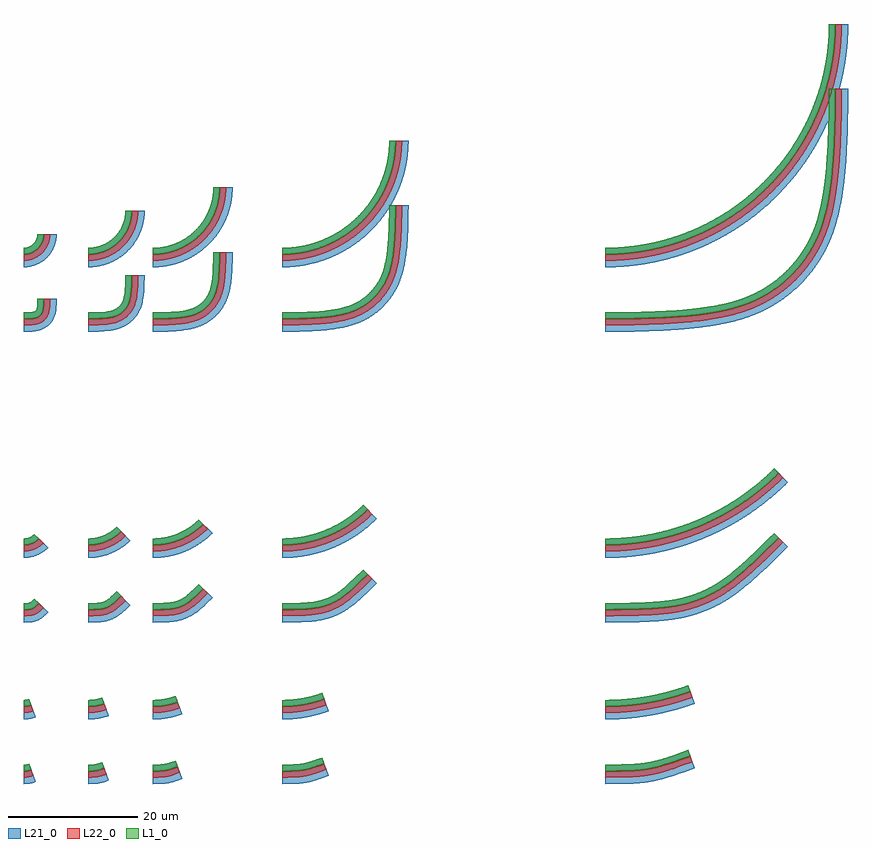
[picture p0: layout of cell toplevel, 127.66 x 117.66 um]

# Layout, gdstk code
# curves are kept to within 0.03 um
import gdstk
lib = gdstk.Library(unit=1e-6, precision=1e-09)
def P(c, l, *ps):  # polygons
    for p in ps: c.add(gdstk.Polygon(p, *l))
L1_0 = (1, 0)
L21_0 = (21, 0)
L22_0 = (22, 0)

unnamed = lib.new_cell('Unnamed')
P(unnamed, L1_0, [(0.561,1.552),(0,1.5),(0,0.5),(0.597,0.528),(1.168,0.706),(0.826,1.646)])
P(unnamed, L21_0, [(0.561,1.552),(0,1.5),(0,-1.5),(0.944,-1.441),(1.852,-1.173),(0.826,1.646)])
P(unnamed, L22_0, [(0.878,0.604),(0.467,0.511),(0,0.5),(0,-0.5),(0.771,-0.457),(1.51,-0.234),(1.168,0.706)])

wg_bend = lib.new_cell('WG bend')
P(wg_bend, L1_0, [(0,1.5),(0.387,1.531),(0.826,1.646),(1.168,0.706),(0.548,0.544),(0,0.5)])
P(wg_bend, L21_0, [(0,1.5),(0.387,1.531),(0.826,1.646),(1.852,-1.173),(1.012,-1.405),(0,-1.5)])
P(wg_bend, L22_0, [(0,0.5),(0.548,0.544),(1.168,0.706),(1.51,-0.234),(0.708,-0.443),(0,-0.5)])

unnamed002 = lib.new_cell('Unnamed002')
P(unnamed002, L1_0, [(1.598,1.682),(0.963,1.528),(0,1.5),(0,0.5),(1.281,0.564),(2.506,0.942),(2.164,1.882)])
P(unnamed002, L21_0, [(1.598,1.682),(0.963,1.528),(0,1.5),(0,-1.5),(0.996,-1.48),(1.628,-1.406),(2.308,-1.241),(3.19,-0.937),(2.164,1.882)])
P(unnamed002, L22_0, [(1.915,0.733),(1.079,0.534),(0,0.5),(0,-0.5),(0.881,-0.485),(1.455,-0.421),(2.015,-0.285),(2.848,0.002),(2.506,0.942)])

wg_bend003 = lib.new_cell('WG bend003')
P(wg_bend003, L1_0, [(0,1.5),(1.139,1.603),(2.164,1.882),(2.506,0.942),(1.226,0.603),(0,0.5)])
P(wg_bend003, L21_0, [(0,1.5),(1.139,1.603),(2.164,1.882),(3.191,-0.937),(2.385,-1.19),(1.56,-1.369),(0.843,-1.462),(0,-1.5)])
P(wg_bend003, L22_0, [(0,0.5),(1.226,0.603),(2.506,0.942),(2.849,0.002),(2.13,-0.223),(1.393,-0.383),(0,-0.5)])

unnamed004 = lib.new_cell('Unnamed004')
P(unnamed004, L1_0, [(2.635,1.811),(2.022,1.631),(1.558,1.55),(0,1.5),(0,0.5),(1.256,0.521),(1.965,0.6),(2.658,0.768),(3.845,1.178),(3.503,2.118)])
P(unnamed004, L21_0, [(2.635,1.811),(2.022,1.631),(1.558,1.55),(0,1.5),(0,-1.5),(1.361,-1.476),(2.312,-1.37),(3.158,-1.17),(4.529,-0.701),(3.503,2.118)])
P(unnamed004, L22_0, [(2.952,0.863),(2.34,0.679),(1.68,0.557),(0,0.5),(0,-0.5),(1.388,-0.473),(2.138,-0.385),(2.95,-0.188),(4.187,0.238),(3.845,1.178)])

wg_bend005 = lib.new_cell('WG bend005')
P(wg_bend005, L1_0, [(0,1.5),(0.893,1.539),(1.691,1.64),(2.565,1.826),(3.503,2.118),(3.845,1.178),(2.91,0.883),(2.049,0.688),(0.98,0.543),(0,0.5)])
P(wg_bend005, L21_0, [(0,1.5),(0.893,1.539),(1.691,1.64),(2.565,1.826),(3.503,2.118),(4.529,-0.701),(3.427,-1.049),(2.3,-1.299),(1.154,-1.45),(0,-1.5)])
P(wg_bend005, L22_0, [(0,0.5),(0.98,0.543),(2.049,0.688),(2.91,0.883),(3.845,1.178),(4.187,0.238),(3.169,-0.083),(2.126,-0.314),(1.173,-0.444),(0,-0.5)])

unnamed006 = lib.new_cell('Unnamed006')
P(unnamed006, L1_0, [(4.709,2.07),(3.703,1.77),(2.7,1.588),(1.56,1.515),(0,1.5),(0,0.5),(1.8,0.522),(2.82,0.595),(3.941,0.799),(5.026,1.122),(6.523,1.65),(6.181,2.59)])
P(unnamed006, L21_0, [(4.709,2.07),(3.703,1.77),(2.7,1.588),(1.56,1.515),(0,1.5),(0,-1.5),(2.216,-1.462),(3.68,-1.298),(5.111,-0.951),(7.207,-0.229),(6.181,2.59)])
P(unnamed006, L22_0, [(5.026,1.122),(3.941,0.799),(2.82,0.595),(1.8,0.522),(0,0.5),(0,-0.5),(1.835,-0.477),(2.94,-0.398),(4.067,-0.199),(5.132,0.104),(6.865,0.71),(6.523,1.65)])

wg_bend007 = lib.new_cell('WG bend007')
P(wg_bend007, L1_0, [(0,1.5),(1.667,1.577),(3.229,1.791),(4.767,2.14),(6.181,2.59),(6.523,1.65),(5.125,1.201),(3.601,0.843),(2.149,0.621),(0.489,0.506),(0,0.5)])
P(wg_bend007, L21_0, [(0,1.5),(1.667,1.577),(3.229,1.791),(4.767,2.14),(6.181,2.59),(7.207,-0.229),(5.454,-0.782),(3.659,-1.18),(1.836,-1.42),(0,-1.5)])
P(wg_bend007, L22_0, [(0,0.5),(1.76,0.581),(3.312,0.79),(5.03,1.175),(6.523,1.65),(6.865,0.71),(5.394,0.238),(3.789,-0.139),(2.262,-0.372),(0.721,-0.487),(0,-0.5)])

unnamed008 = lib.new_cell('Unnamed008')
P(unnamed008, L1_0, [(9.894,2.719),(7.694,2.067),(5.639,1.694),(3.583,1.544),(0,1.5),(0,0.5),(2.609,0.519),(4.707,0.6),(6.258,0.769),(7.537,1.005),(8.577,1.263),(9.801,1.635),(13.216,2.83),(12.874,3.77)])
P(unnamed008, L21_0, [(9.894,2.719),(7.694,2.067),(5.639,1.694),(3.583,1.544),(0,1.5),(0,-1.5),(4.354,-1.425),(5.789,-1.309),(7.208,-1.1),(8.61,-0.797),(9.784,-0.468),(13.901,0.951),(12.874,3.77)])
P(unnamed008, L22_0, [(10.211,1.77),(7.928,1.095),(5.862,0.714),(3.618,0.545),(0,0.5),(0,-0.5),(2.627,-0.481),(4.776,-0.398),(6.198,-0.25),(7.751,0.028),(9.774,0.576),(13.558,1.891),(13.216,2.83)])

wg_bend009 = lib.new_cell('WG bend009')
P(wg_bend009, L1_0, [(0,1.5),(1.738,1.54),(3.281,1.643),(4.722,1.797),(6.441,2.055),(8.053,2.371),(9.556,2.733),(11.227,3.213),(12.874,3.77),(13.217,2.83),(11.146,2.142),(8.654,1.481),(6.319,1.02),(3.862,0.693),(1.785,0.541),(0,0.5)])
P(wg_bend009, L21_0, [(0,1.5),(1.738,1.54),(3.281,1.643),(4.722,1.797),(6.441,2.055),(8.053,2.371),(9.556,2.733),(11.227,3.213),(12.874,3.77),(13.901,0.951),(12.122,0.35),(10.317,-0.169),(8.797,-0.537),(6.955,-0.901),(5.201,-1.166),(3.334,-1.363),(1.669,-1.466),(0,-1.5)])
P(wg_bend009, L22_0, [(0,0.5),(1.785,0.541),(3.368,0.647),(5.24,0.857),(6.808,1.104),(8.364,1.416),(9.906,1.791),(11.62,2.288),(13.217,2.83),(13.559,1.891),(11.142,1.098),(8.779,0.484),(6.382,0.017),(3.962,-0.302),(2.034,-0.448),(0,-0.5)])

unnamed010 = lib.new_cell('Unnamed010')
P(unnamed010, L1_0, [(1.208,1.752),(1.034,1.611),(0.854,1.537),(0,1.5),(0,0.5),(0.847,0.527),(1.331,0.641),(1.71,0.868),(2.371,1.482),(1.664,2.189)])
P(unnamed010, L21_0, [(1.208,1.752),(1.034,1.611),(0.854,1.537),(0,1.5),(0,-1.5),(1.222,-1.442),(2.096,-1.206),(2.88,-0.755),(3.786,0.068),(1.664,2.189)])
P(unnamed010, L22_0, [(1.873,1.005),(1.506,0.728),(1.145,0.578),(0.69,0.515),(0,0.5),(0,-0.5),(0.857,-0.476),(1.404,-0.388),(1.862,-0.215),(2.388,0.13),(3.078,0.775),(2.371,1.482)])

wg_bend011 = lib.new_cell('WG bend011')
P(wg_bend011, L1_0, [(0,1.5),(0.429,1.539),(0.901,1.679),(1.333,1.914),(1.664,2.189),(2.371,1.482),(1.827,1.041),(1.283,0.755),(0.697,0.573),(0,0.5)])
P(wg_bend011, L21_0, [(0,1.5),(0.429,1.539),(0.901,1.679),(1.333,1.914),(1.664,2.189),(3.786,0.068),(2.916,-0.636),(2.049,-1.092),(1.113,-1.383),(0,-1.5)])
P(wg_bend011, L22_0, [(0,0.5),(0.697,0.573),(1.283,0.755),(1.827,1.041),(2.371,1.482),(3.079,0.775),(2.466,0.266),(1.771,-0.124),(1.127,-0.352),(0.342,-0.487),(0,-0.5)])

unnamed012 = lib.new_cell('Unnamed012')
P(unnamed012, L1_0, [(3.413,2.384),(2.783,1.901),(2.138,1.634),(1.351,1.53),(0,1.5),(0,0.5),(1.158,0.519),(2.052,0.596),(2.669,0.751),(3.206,0.991),(3.937,1.514),(5.096,2.611),(4.389,3.318)])
P(unnamed012, L21_0, [(3.413,2.384),(2.783,1.901),(2.138,1.634),(1.351,1.53),(0,1.5),(0,-1.5),(1.237,-1.48),(2.239,-1.398),(3.036,-1.231),(3.618,-1.027),(4.308,-0.683),(4.856,-0.314),(5.622,0.337),(6.511,1.197),(4.389,3.318)])
P(unnamed012, L22_0, [(4.077,1.636),(3.291,1.04),(2.482,0.691),(1.596,0.544),(0,0.5),(0,-0.5),(1.469,-0.467),(2.208,-0.392),(2.88,-0.233),(3.578,0.056),(4.458,0.646),(5.803,1.904),(5.096,2.611)])

wg_bend013 = lib.new_cell('WG bend013')
P(wg_bend013, L1_0, [(0,1.5),(1.211,1.619),(1.841,1.779),(2.45,2.004),(3.449,2.546),(4.389,3.318),(5.096,2.611),(4.312,1.932),(3.439,1.373),(2.495,0.945),(1.499,0.657),(0.753,0.539),(0,0.5)])
P(wg_bend013, L21_0, [(0,1.5),(1.211,1.619),(1.841,1.779),(2.45,2.004),(3.449,2.546),(4.389,3.318),(6.511,1.197),(5.888,0.628),(5.015,-0.015),(4.287,-0.441),(3.524,-0.799),(2.615,-1.121),(1.796,-1.323),(0.962,-1.45),(0,-1.5)])
P(wg_bend013, L22_0, [(0,0.5),(0.753,0.539),(1.499,0.657),(2.137,0.824),(2.845,1.085),(3.439,1.373),(4.004,1.715),(4.536,2.106),(5.096,2.611),(5.804,1.904),(4.911,1.131),(4.01,0.546),(3.041,0.084),(1.916,-0.273),(0.965,-0.443),(0,-0.5)])

unnamed014 = lib.new_cell('Unnamed014')
P(unnamed014, L1_0, [(5.618,3.015),(5.02,2.519),(4.566,2.212),(3.992,1.924),(3.46,1.742),(2.335,1.564),(0,1.5),(0,0.5),(1.747,0.528),(2.824,0.607),(3.63,0.752),(4.465,1.039),(5.16,1.402),(5.749,1.818),(6.566,2.524),(7.821,3.74),(7.114,4.447)])
P(unnamed014, L21_0, [(5.618,3.015),(5.02,2.519),(4.566,2.212),(3.992,1.924),(3.46,1.742),(2.335,1.564),(0,1.5),(0,-1.5),(2.57,-1.427),(3.43,-1.328),(4.254,-1.151),(5.016,-0.897),(5.746,-0.564),(6.436,-0.154),(7.163,0.389),(7.923,1.056),(9.236,2.325),(7.114,4.447)])
P(unnamed014, L22_0, [(6.282,2.267),(5.623,1.722),(5.076,1.352),(4.465,1.039),(3.819,0.804),(3.236,0.667),(2.414,0.567),(0,0.5),(0,-0.5),(1.786,-0.471),(2.941,-0.386),(3.989,-0.187),(4.864,0.122),(5.686,0.552),(6.368,1.033),(7.245,1.79),(8.528,3.033),(7.821,3.74)])

wg_bend015 = lib.new_cell('WG bend015')
P(wg_bend015, L1_0, [(0,1.5),(0.964,1.546),(2.006,1.702),(2.858,1.914),(3.85,2.266),(4.801,2.719),(5.553,3.171),(6.332,3.742),(7.114,4.447),(7.821,3.74),(6.734,2.786),(5.531,1.982),(4.322,1.379),(3.049,0.928),(1.635,0.621),(0.868,0.534),(0,0.5)])
P(wg_bend015, L21_0, [(0,1.5),(0.964,1.546),(2.006,1.702),(2.858,1.914),(3.85,2.266),(4.801,2.719),(5.553,3.171),(6.332,3.742),(7.114,4.447),(9.236,2.326),(8.483,1.629),(7.492,0.862),(6.629,0.307),(5.623,-0.228),(4.574,-0.673),(3.49,-1.025),(2.268,-1.302),(1.252,-1.44),(0,-1.5)])
P(wg_bend015, L22_0, [(0,0.5),(1.06,0.551),(2.111,0.703),(3.142,0.955),(4.144,1.305),(5.193,1.795),(6.105,2.337),(7.036,3.026),(7.821,3.74),(8.528,3.033),(7.426,2.057),(6.212,1.223),(4.809,0.5),(3.426,-0.003),(1.783,-0.368),(0.841,-0.471),(0,-0.5)])

unnamed016 = lib.new_cell('Unnamed016')
P(unnamed016, L1_0, [(10.027,4.277),(8.97,3.401),(8.134,2.834),(7.116,2.317),(6.039,1.941),(5.091,1.737),(3.97,1.609),(1.934,1.519),(0,1.5),(0,0.5),(2.925,0.548),(4.43,0.646),(5.828,0.859),(7.144,1.251),(8.39,1.828),(9.574,2.603),(11.169,3.963),(13.271,5.997),(12.564,6.704)])
P(unnamed016, L21_0, [(10.027,4.277),(8.97,3.401),(8.134,2.834),(7.116,2.317),(6.039,1.941),(5.091,1.737),(3.97,1.609),(1.934,1.519),(0,1.5),(0,-1.5),(3.687,-1.417),(4.981,-1.306),(5.804,-1.185),(6.836,-0.951),(7.741,-0.661),(8.726,-0.247),(9.567,0.197),(10.56,0.845),(11.628,1.693),(13.263,3.188),(14.685,4.583),(12.564,6.704)])
P(unnamed016, L22_0, [(10.691,3.53),(9.574,2.603),(8.561,1.925),(7.509,1.397),(6.305,0.977),(5.247,0.75),(4.049,0.612),(1.954,0.519),(0,0.5),(0,-0.5),(2.964,-0.451),(4.863,-0.313),(6.255,-0.069),(7.498,0.315),(8.875,0.954),(10.177,1.806),(11.848,3.228),(13.978,5.29),(13.271,5.997)])

wg_bend017 = lib.new_cell('WG bend017')
P(wg_bend017, L1_0, [(0,1.5),(1.477,1.561),(2.853,1.73),(4.301,2.028),(5.719,2.445),(7.602,3.208),(9.386,4.181),(11.047,5.352),(12.564,6.704),(13.271,5.997),(12.418,5.195),(11.593,4.508),(9.914,3.332),(9.073,2.838),(7.942,2.263),(7.047,1.873),(5.948,1.467),(4.543,1.058),(3.013,0.743),(1.463,0.557),(0,0.5)])
P(wg_bend017, L21_0, [(0,1.5),(1.845,1.596),(3.58,1.864),(5.279,2.302),(6.842,2.87),(8.427,3.625),(9.929,4.533),(11.335,5.585),(12.564,6.704),(14.686,4.583),(13.578,3.553),(12.399,2.607),(11.154,1.749),(9.85,0.984),(8.395,0.272),(7.092,-0.252),(5.861,-0.656),(4.395,-1.03),(3.228,-1.248),(2.157,-1.388),(0,-1.5)])
P(wg_bend017, L22_0, [(0,0.5),(1.657,0.573),(3.109,0.759),(4.732,1.106),(6.133,1.53),(7.942,2.263),(9.073,2.838),(9.914,3.332),(11.593,4.508),(12.418,5.195),(13.271,5.997),(13.978,5.29),(13.233,4.582),(12.291,3.785),(11.469,3.167),(10.443,2.483),(8.551,1.445),(7.518,0.985),(6.46,0.585),(4.884,0.113),(3.376,-0.21),(1.95,-0.404),(0.308,-0.498),(0,-0.5)])

unnamed018 = lib.new_cell('Unnamed018')
P(unnamed018, L1_0, [(22.471,8.732),(19.948,6.483),(18.044,5.026),(17.056,4.392),(16.08,3.848),(14.902,3.289),(13.864,2.877),(12.623,2.477),(11.448,2.184),(10.264,1.969),(8.812,1.79),(5.186,1.572),(0,1.5),(0,0.5),(5.219,0.572),(8.909,0.795),(10.256,0.957),(11.562,1.186),(12.802,1.488),(14.204,1.937),(15.836,2.613),(17.4,3.434),(18.832,4.356),(20.388,5.549),(23.155,8.002),(26.896,11.641),(26.189,12.348)])
P(unnamed018, L21_0, [(22.471,8.732),(19.753,6.322),(18.723,5.513),(17.688,4.787),(16.654,4.158),(15.496,3.558),(14.473,3.11),(13.247,2.666),(12.174,2.355),(11.056,2.104),(9.784,1.901),(8.561,1.766),(5.186,1.572),(0,1.5),(0,-1.5),(3.956,-1.461),(6.394,-1.383),(8.565,-1.245),(10.371,-1.047),(12.078,-0.749),(13.443,-0.409),(15.088,0.131),(16.488,0.711),(17.843,1.388),(18.965,2.043),(20.112,2.813),(21.48,3.859),(23.044,5.191),(24.522,6.542),(28.31,10.227),(26.189,12.348)])
P(unnamed018, L22_0, [(23.155,8.002),(20.587,5.714),(19.449,4.808),(18.505,4.13),(17.485,3.484),(16.366,2.871),(15.299,2.371),(14.204,1.937),(12.802,1.488),(11.562,1.186),(10.256,0.957),(8.909,0.795),(5.219,0.572),(0,0.5),(0,-0.5),(5.252,-0.427),(7.556,-0.318),(9.228,-0.178),(10.729,0.017),(12.07,0.273),(13.467,0.64),(14.641,1.032),(16.447,1.796),(17.994,2.623),(19.409,3.539),(21.022,4.776),(22.132,5.719),(23.838,7.272),(27.603,10.934),(26.896,11.641)])

wg_bend019 = lib.new_cell('WG bend019')
P(wg_bend019, L1_0, [(0,1.5),(1.637,1.536),(3.367,1.653),(5.089,1.851),(6.705,2.112),(8.215,2.422),(9.896,2.846),(11.372,3.289),(13.009,3.86),(14.97,4.66),(16.711,5.484),(18.324,6.35),(20.053,7.398),(21.645,8.483),(23.253,9.709),(24.864,11.086),(26.189,12.348),(26.896,11.641),(25.462,10.279),(23.958,8.993),(22.39,7.788),(20.678,6.611),(18.904,5.53),(17.163,4.592),(15.375,3.746),(13.453,2.958),(11.113,2.159),(8.726,1.514),(6.399,1.042),(4.048,0.716),(1.978,0.551),(0,0.5)])
P(wg_bend019, L21_0, [(0,1.5),(1.829,1.545),(3.558,1.671),(5.28,1.878),(7.178,2.202),(8.871,2.578),(10.544,3.032),(12.466,3.661),(14.173,4.319),(15.933,5.102),(17.395,5.839),(18.989,6.738),(20.537,7.715),(22.034,8.767),(23.552,9.953),(24.864,11.086),(26.189,12.348),(28.31,10.227),(26.723,8.723),(24.729,7.05),(22.803,5.628),(20.617,4.216),(18.436,2.997),(16.183,1.916),(13.965,1.014),(11.796,0.277),(8.982,-0.48),(6.119,-1.03),(4.468,-1.25),(2.913,-1.394),(0,-1.5)])
P(wg_bend019, L22_0, [(0,0.5),(1.681,0.537),(3.457,0.657),(5.128,0.847),(6.692,1.093),(8.436,1.447),(10.067,1.856),(11.679,2.337),(13.453,2.958),(15.375,3.746),(17.163,4.592),(18.904,5.53),(20.678,6.611),(22.39,7.788),(23.958,8.993),(25.462,10.279),(26.896,11.641),(27.603,10.934),(25.98,9.4),(24.43,8.089),(22.814,6.86),(21.051,5.662),(19.225,4.562),(17.432,3.608),(15.593,2.749),(13.711,1.987),(11.405,1.203),(9.054,0.564),(6.568,0.056),(4.054,-0.289),(2.131,-0.442),(0,-0.5)])

unnamed020 = lib.new_cell('Unnamed020')
P(unnamed020, L1_0, [(2.062,2.354),(1.945,1.867),(1.841,1.736),(1.68,1.639),(1.06,1.534),(0,1.5),(0,0.5),(1.138,0.537),(1.689,0.609),(2.158,0.757),(2.507,0.99),(2.82,1.383),(2.983,1.818),(3.079,2.478),(3.116,3.616),(2.116,3.616)])
P(unnamed020, L21_0, [(2.062,2.354),(1.945,1.867),(1.841,1.736),(1.68,1.639),(1.06,1.534),(0,1.5),(0,-1.5),(1.614,-1.425),(2.265,-1.312),(2.847,-1.125),(3.369,-0.855),(3.84,-0.501),(4.244,-0.074),(4.571,0.415),(4.839,1.035),(5.006,1.749),(5.073,2.321),(5.116,3.616),(2.116,3.616)])
P(unnamed020, L22_0, [(3.055,2.237),(2.96,1.728),(2.82,1.383),(2.568,1.048),(2.233,0.796),(1.887,0.656),(1.379,0.561),(0,0.5),(0,-0.5),(1.216,-0.46),(2.031,-0.339),(2.592,-0.144),(3.173,0.244),(3.624,0.778),(3.922,1.457),(4.076,2.4),(4.116,3.616),(3.116,3.616)])

wg_bend021 = lib.new_cell('WG bend021')
P(wg_bend021, L1_0, [(0,1.5),(0.354,1.53),(0.755,1.639),(1.126,1.824),(1.454,2.078),(1.726,2.392),(1.955,2.806),(2.075,3.203),(2.116,3.616),(3.116,3.616),(3.017,2.838),(2.727,2.109),(2.264,1.475),(1.731,1.025),(1.352,0.809),(0.946,0.647),(0.522,0.544),(0,0.5)])
P(wg_bend021, L21_0, [(0,1.5),(0.354,1.53),(0.755,1.639),(1.126,1.824),(1.454,2.078),(1.726,2.392),(1.955,2.806),(2.075,3.203),(2.116,3.616),(5.116,3.616),(5.066,2.901),(4.916,2.2),(4.67,1.526),(4.254,0.774),(3.815,0.207),(3.301,-0.293),(2.722,-0.716),(1.958,-1.111),(0.998,-1.402),(0,-1.5)])
P(wg_bend021, L22_0, [(0,0.5),(0.522,0.544),(0.946,0.647),(1.43,0.848),(1.874,1.126),(2.436,1.673),(2.807,2.264),(3.038,2.923),(3.116,3.616),(4.116,3.616),(4.013,2.7),(3.885,2.257),(3.657,1.727),(3.145,0.96),(2.475,0.327),(1.889,-0.041),(1.25,-0.306),(0.575,-0.46),(0,-0.5)])

unnamed022 = lib.new_cell('Unnamed022')
P(unnamed022, L1_0, [(5.614,4.533),(5.48,3.753),(5.271,3.141),(4.958,2.644),(4.484,2.195),(3.88,1.872),(3.03,1.664),(1.512,1.53),(0,1.5),(0,0.5),(1.551,0.53),(3.186,0.676),(4.226,0.933),(4.685,1.141),(5.072,1.386),(5.616,1.875),(6.091,2.547),(6.349,3.152),(6.556,4.046),(6.701,5.681),(6.732,7.232),(5.732,7.232),(5.702,5.72)])
P(unnamed022, L21_0, [(5.614,4.533),(5.438,3.593),(5.212,3.024),(4.782,2.449),(4.208,2.02),(3.639,1.794),(2.699,1.618),(1.512,1.53),(0,1.5),(0,-1.5),(2.472,-1.418),(3.499,-1.299),(4.454,-1.093),(5.12,-0.864),(5.765,-0.546),(6.476,-0.057),(7.004,0.431),(7.464,0.984),(7.848,1.593),(8.175,2.313),(8.397,3.052),(8.531,3.733),(8.65,4.76),(8.732,7.232),(5.732,7.232),(5.702,5.72)])
P(unnamed022, L22_0, [(6.607,4.415),(6.452,3.519),(6.174,2.71),(5.735,2.014),(5.145,1.44),(4.354,0.983),(3.476,0.728),(2.315,0.576),(0,0.5),(0,-0.5),(2.394,-0.421),(3.671,-0.253),(4.737,0.06),(5.162,0.262),(5.66,0.576),(6.279,1.119),(6.789,1.766),(7.172,2.495),(7.424,3.286),(7.653,4.838),(7.732,7.232),(6.732,7.232),(6.701,5.681)])

wg_bend023 = lib.new_cell('WG bend023')
P(wg_bend023, L1_0, [(0,1.5),(1.03,1.593),(2.027,1.87),(2.889,2.281),(3.732,2.881),(4.137,3.264),(4.599,3.811),(4.951,4.343),(5.208,4.838),(5.441,5.43),(5.608,6.045),(5.705,6.675),(5.732,7.232),(6.732,7.232),(6.69,6.485),(6.566,5.747),(6.361,5.027),(6.077,4.335),(5.767,3.758),(5.345,3.14),(4.923,2.64),(4.383,2.122),(3.632,1.564),(2.812,1.115),(1.848,0.758),(0.933,0.565),(0,0.5)])
P(wg_bend023, L21_0, [(0,1.5),(0.636,1.535),(1.187,1.624),(2.249,1.959),(3.16,2.449),(4.025,3.151),(4.738,4.006),(5.067,4.552),(5.303,5.057),(5.624,6.123),(5.732,7.232),(8.732,7.232),(8.664,6.142),(8.46,5.07),(8.168,4.144),(7.719,3.149),(7.149,2.218),(6.467,1.365),(5.685,0.604),(4.813,-0.054),(3.647,-0.702),(2.513,-1.131),(1.21,-1.416),(0,-1.5)])
P(wg_bend023, L22_0, [(0,0.5),(1.118,0.593),(2.293,0.902),(3.393,1.418),(4.383,2.122),(4.923,2.64),(5.345,3.14),(5.767,3.758),(6.077,4.335),(6.361,5.027),(6.566,5.747),(6.69,6.485),(6.732,7.232),(7.732,7.232),(7.684,6.374),(7.564,5.631),(7.34,4.802),(7.025,4.002),(6.623,3.242),(6.14,2.532),(5.654,1.958),(5.034,1.363),(4.172,0.722),(3.327,0.252),(2.328,-0.141),(1.284,-0.393),(0,-0.5)])

unnamed024 = lib.new_cell('Unnamed024')
P(unnamed024, L1_0, [(9.237,7.434),(9.02,5.78),(8.846,5.072),(8.65,4.533),(8.367,3.987),(8.061,3.546),(7.649,3.09),(7.18,2.694),(6.66,2.366),(6.08,2.104),(5.394,1.899),(4.662,1.755),(2.856,1.573),(0,1.5),(0,0.5),(2.914,0.574),(4.254,0.689),(5.041,0.805),(5.934,1.006),(6.627,1.244),(7.299,1.578),(7.845,1.943),(8.542,2.572),(9.121,3.309),(9.567,4.134),(9.883,5.067),(10.081,6.029),(10.234,7.355),(10.302,8.512),(10.348,10.848),(9.348,10.848)])
P(unnamed024, L21_0, [(9.237,7.434),(9.132,6.448),(8.986,5.617),(8.81,4.96),(8.586,4.393),(8.285,3.858),(7.914,3.368),(7.48,2.934),(6.926,2.521),(6.385,2.229),(5.888,2.037),(5.231,1.861),(4.4,1.716),(2.297,1.545),(0,1.5),(0,-1.5),(2.414,-1.453),(3.649,-1.38),(4.811,-1.256),(6.094,-1.018),(7.118,-0.711),(8.086,-0.274),(8.951,0.273),(9.734,0.933),(10.42,1.692),(11.06,2.65),(11.506,3.592),(11.818,4.562),(12.056,5.717),(12.228,7.198),(12.3,8.433),(12.348,10.848),(9.348,10.848)])
P(unnamed024, L22_0, [(10.234,7.355),(10.001,5.585),(9.803,4.782),(9.567,4.134),(9.27,3.549),(8.847,2.928),(8.344,2.371),(7.845,1.943),(7.299,1.578),(6.627,1.244),(5.934,1.006),(5.041,0.805),(4.254,0.689),(2.914,0.574),(0,0.5),(0,-0.5),(2.973,-0.424),(4.372,-0.304),(5.458,-0.134),(6.356,0.088),(7.01,0.32),(7.804,0.715),(8.45,1.146),(9.273,1.889),(9.896,2.668),(10.439,3.635),(10.804,4.642),(11.068,5.873),(11.231,7.277),(11.301,8.473),(11.348,10.848),(10.348,10.848),(10.302,8.512)])

wg_bend025 = lib.new_cell('WG bend025')
P(wg_bend025, L1_0, [(0,1.5),(0.863,1.54),(1.718,1.659),(2.558,1.857),(3.377,2.131),(4.167,2.48),(4.921,2.9),(5.702,3.44),(6.298,3.94),(6.966,4.614),(7.613,5.423),(8.124,6.224),(8.586,7.151),(8.917,8.041),(9.138,8.876),(9.3,9.899),(9.348,10.848),(10.348,10.848),(10.304,9.893),(10.135,8.759),(9.841,7.65),(9.466,6.668),(8.993,5.729),(8.483,4.921),(7.775,4.019),(7.042,3.265),(6.005,2.42),(4.952,1.762),(3.738,1.199),(2.555,0.82),(1.335,0.586),(0,0.5)])
P(wg_bend025, L21_0, [(0,1.5),(0.776,1.532),(1.548,1.629),(2.308,1.789),(3.052,2.012),(4.321,2.558),(5.067,2.992),(5.702,3.44),(6.487,4.117),(7.192,4.876),(7.808,5.708),(8.368,6.681),(8.807,7.714),(9.1,8.708),(9.3,9.899),(9.348,10.848),(12.348,10.848),(12.259,9.368),(12.02,8.021),(11.633,6.708),(11.104,5.446),(10.438,4.251),(9.5,2.959),(8.486,1.878),(7.441,0.994),(6.693,0.471),(5.808,-0.049),(4.988,-0.448),(3.924,-0.86),(3.049,-1.118),(2.044,-1.33),(1.026,-1.457),(0,-1.5)])
P(wg_bend025, L22_0, [(0,0.5),(0.955,0.544),(1.901,0.676),(2.832,0.895),(3.738,1.199),(4.612,1.585),(5.447,2.05),(6.236,2.59),(7.042,3.265),(7.775,4.019),(8.483,4.921),(8.993,5.729),(9.466,6.668),(9.841,7.65),(10.135,8.759),(10.304,9.893),(10.348,10.848),(11.348,10.848),(11.278,9.592),(11.093,8.454),(10.76,7.242),(10.381,6.264),(9.81,5.144),(9.181,4.178),(8.526,3.359),(7.645,2.462),(6.585,1.606),(5.338,0.834),(4.099,0.266),(2.802,-0.149),(1.464,-0.405),(0,-0.5)])

unnamed026 = lib.new_cell('Unnamed026')
P(unnamed026, L1_0, [(16.437,12.945),(16.269,11.067),(16.061,9.676),(15.761,8.371),(15.39,7.29),(14.898,6.293),(14.28,5.368),(13.547,4.532),(12.643,3.747),(11.713,3.139),(10.687,2.648),(9.548,2.275),(8.165,1.976),(6.598,1.764),(4.501,1.605),(0,1.5),(0,0.5),(2.605,0.534),(5.2,0.644),(7.13,0.817),(8.586,1.036),(9.98,1.357),(11.172,1.766),(12.204,2.268),(13.244,2.948),(14.322,3.893),(14.896,4.534),(15.355,5.146),(15.764,5.793),(16.12,6.47),(16.634,7.798),(16.86,8.623),(17.089,9.745),(17.352,11.805),(17.503,14.173),(17.58,18.08),(16.58,18.08),(16.546,15.501)])
P(unnamed026, L21_0, [(16.437,12.945),(16.315,11.482),(16.103,9.914),(15.847,8.694),(15.511,7.601),(15.103,6.669),(14.532,5.714),(13.899,4.906),(13.173,4.18),(12.224,3.452),(11.103,2.827),(9.985,2.401),(8.642,2.065),(7.012,1.811),(5.135,1.642),(2.578,1.534),(0,1.5),(0,-1.5),(3.985,-1.422),(6.004,-1.303),(8.053,-1.078),(9.692,-0.779),(11.206,-0.357),(12.675,0.254),(13.974,1.013),(15.163,1.935),(15.989,2.745),(16.8,3.727),(17.438,4.693),(17.976,5.718),(18.382,6.718),(18.755,7.956),(19.06,9.406),(19.248,10.715),(19.382,12.076),(19.501,14.095),(19.58,18.08),(16.58,18.08),(16.546,15.501)])
P(unnamed026, L22_0, [(17.435,12.879),(17.262,10.95),(17.044,9.494),(16.723,8.099),(16.314,6.907),(15.764,5.793),(15.074,4.759),(14.322,3.893),(13.396,3.064),(12.452,2.413),(11.261,1.803),(10.131,1.4),(8.837,1.084),(7.13,0.817),(5.2,0.644),(2.605,0.534),(0,0.5),(0,-0.5),(2.631,-0.466),(5.266,-0.353),(7.247,-0.176),(9.032,0.103),(10.415,0.441),(11.75,0.925),(12.787,1.449),(13.929,2.213),(15.036,3.193),(15.603,3.82),(16.118,4.491),(16.931,5.851),(17.238,6.525),(17.537,7.339),(17.786,8.202),(18.027,9.312),(18.348,11.713),(18.502,14.134),(18.58,18.08),(17.58,18.08),(17.546,15.475)])

wg_bend027 = lib.new_cell('WG bend027')
P(wg_bend027, L1_0, [(0,1.5),(1.47,1.565),(3.11,1.794),(4.631,2.16),(6.196,2.701),(7.617,3.353),(8.971,4.136),(10.317,5.101),(11.427,6.067),(12.387,7.059),(13.26,8.127),(14.091,9.342),(14.768,10.544),(15.545,12.313),(16.11,14.16),(16.319,15.15),(16.478,16.243),(16.58,18.08),(17.58,18.08),(17.492,16.326),(17.23,14.59),(16.767,12.796),(16.118,11.06),(15.337,9.488),(14.404,8.001),(13.263,6.541),(12.045,5.275),(10.475,3.961),(8.93,2.937),(7.109,2.001),(5.377,1.342),(4.156,0.998),(2.818,0.727),(1.365,0.553),(0,0.5)])
P(wg_bend027, L21_0, [(0,1.5),(1.379,1.557),(2.839,1.745),(4.187,2.037),(5.68,2.503),(7.123,3.108),(8.343,3.752),(9.581,4.548),(10.743,5.451),(12.076,6.719),(13.205,8.054),(14.187,9.499),(15.05,11.124),(15.699,12.747),(16.193,14.519),(16.488,16.334),(16.58,18.08),(19.58,18.08),(19.471,16.019),(19.327,14.942),(19.123,13.874),(18.574,11.885),(18.202,10.864),(17.773,9.865),(16.81,8.04),(15.66,6.326),(14.261,4.664),(13.495,3.893),(12.687,3.166),(11.666,2.355),(10.502,1.555),(9.284,0.841),(8.017,0.216),(6.81,-0.278),(5.364,-0.751),(3.993,-1.089),(2.601,-1.327),(1.303,-1.457),(0,-1.5)])
P(wg_bend027, L22_0, [(0,0.5),(1.656,0.578),(3.298,0.812),(5.004,1.227),(6.479,1.737),(7.903,2.376),(9.43,3.243),(10.862,4.257),(12.116,5.342),(13.134,6.394),(14.06,7.527),(14.837,8.65),(15.615,10.003),(16.118,11.06),(16.482,11.965),(16.853,13.076),(17.104,14.018),(17.449,15.938),(17.553,17.104),(17.58,18.08),(18.58,18.08),(18.487,16.226),(18.168,14.19),(17.721,12.495),(17.034,10.661),(16.159,8.909),(15.164,7.343),(14.017,5.884),(12.731,4.547),(11.153,3.22),(9.527,2.128),(7.701,1.171),(6.751,0.77),(5.683,0.39),(4.192,-0.021),(2.774,-0.292),(1.339,-0.452),(0,-0.5)])

unnamed028 = lib.new_cell('Unnamed028')
P(unnamed028, L1_0, [(34.457,27.262),(34.148,23.049),(33.697,19.646),(33.392,18.059),(33.085,16.774),(32.697,15.451),(32.32,14.391),(31.867,13.323),(31.278,12.16),(30.66,11.119),(29.975,10.121),(29.166,9.099),(28.286,8.136),(27.342,7.238),(26.41,6.465),(25.583,5.86),(24.565,5.206),(23.589,4.662),(22.666,4.215),(20.708,3.462),(18.275,2.805),(16.726,2.499),(15.011,2.234),(11.103,1.839),(8.345,1.676),(5.567,1.578),(0,1.5),(0,0.5),(5.595,0.578),(10.619,0.802),(14.318,1.138),(15.969,1.362),(17.771,1.677),(19.336,2.029),(20.624,2.387),(21.926,2.829),(22.987,3.263),(24.136,3.819),(25.078,4.347),(26.151,5.037),(27.1,5.735),(28.151,6.62),(29.205,7.648),(30.179,8.753),(31.01,9.847),(31.812,11.082),(32.431,12.198),(33.052,13.533),(33.532,14.795),(34.13,16.823),(34.645,19.26),(35.021,21.841),(35.318,24.983),(35.456,27.212),(35.581,30.564),(35.659,36.159),(34.659,36.159),(34.609,31.705)])
P(unnamed028, L21_0, [(34.457,27.262),(34.183,23.413),(33.767,20.072),(33.466,18.409),(33.161,17.068),(32.816,15.828),(32.43,14.682),(31.982,13.578),(31.455,12.488),(30.906,11.515),(30.246,10.5),(29.521,9.53),(28.671,8.541),(27.822,7.679),(26.918,6.874),(25.963,6.13),(24.883,5.4),(23.836,4.792),(22.666,4.215),(21.574,3.765),(20.331,3.343),(18.944,2.962),(17.576,2.658),(14.471,2.164),(10.552,1.8),(5.567,1.578),(0,1.5),(0,-1.5),(5.651,-1.421),(10.754,-1.193),(14.84,-0.813),(16.557,-0.571),(18.544,-0.206),(19.988,0.131),(21.635,0.609),(22.966,1.086),(24.193,1.615),(25.447,2.253),(26.565,2.914),(27.729,3.704),(28.838,4.569),(30.2,5.806),(31.451,7.155),(32.518,8.518),(33.417,9.87),(34.211,11.286),(34.983,12.969),(35.596,14.666),(36.07,16.335),(36.443,17.998),(36.774,19.888),(37.051,21.986),(37.269,24.27),(37.423,26.542),(37.545,29.378),(37.659,36.159),(34.659,36.159),(34.609,31.705)])
P(unnamed028, L22_0, [(35.456,27.212),(35.179,23.317),(34.952,21.29),(34.683,19.478),(34.37,17.848),(34.052,16.519),(33.69,15.273),(33.292,14.131),(32.733,12.815),(32.107,11.592),(31.396,10.416),(30.722,9.45),(29.927,8.451),(29,7.436),(28.151,6.62),(27.1,5.735),(26.232,5.093),(25.246,4.449),(24.223,3.865),(23.256,3.385),(22.334,2.987),(21.133,2.549),(18.851,1.911),(17.118,1.553),(15.42,1.281),(13.581,1.055),(11.176,0.842),(8.39,0.677),(5.595,0.578),(0,0.5),(0,-0.5),(5.623,-0.421),(10.686,-0.195),(14.717,0.179),(17.966,0.697),(19.58,1.059),(20.917,1.431),(22.277,1.893),(23.393,2.349),(24.601,2.934),(25.679,3.542),(26.719,4.214),(27.798,5.012),(28.898,5.948),(30.001,7.034),(30.953,8.12),(31.827,9.271),(32.564,10.392),(33.321,11.742),(33.974,13.145),(34.478,14.47),(35.1,16.579),(35.59,18.863),(35.98,21.442),(36.272,24.348),(36.424,26.598),(36.546,29.412),(36.659,36.159),(35.659,36.159),(35.609,31.683)])

wg_bend029 = lib.new_cell('WG bend029')
P(wg_bend029, L1_0, [(0,1.5),(1.632,1.538),(3.451,1.672),(4.881,1.845),(6.585,2.131),(8.18,2.479),(9.756,2.901),(11.402,3.429),(13.108,4.074),(14.604,4.727),(16.068,5.449),(17.496,6.24),(18.965,7.149),(20.31,8.074),(21.535,9.002),(22.934,10.172),(24.132,11.281),(25.342,12.515),(26.365,13.661),(27.336,14.851),(28.253,16.083),(29.063,17.274),(29.968,18.747),(30.71,20.092),(31.473,21.642),(32.193,23.318),(32.855,25.121),(33.39,26.865),(33.833,28.634),(34.182,30.425),(34.447,32.326),(34.601,34.144),(34.659,36.159),(35.659,36.159),(35.62,34.481),(35.492,32.707),(35.276,30.942),(34.933,28.997),(34.557,27.36),(34.046,25.554),(33.475,23.87),(32.821,22.217),(32.085,20.598),(31.317,19.105),(30.428,17.565),(29.519,16.153),(28.485,14.707),(27.317,13.238),(26.207,11.977),(24.899,10.632),(23.447,9.292),(22.001,8.096),(20.494,6.977),(18.93,5.939),(17.314,4.985),(15.561,4.074),(14.033,3.377),(12.289,2.684),(10.133,1.97),(7.839,1.372),(5.705,0.959),(3.452,0.667),(1.777,0.544),(0,0.5)])
P(wg_bend029, L21_0, [(0,1.5),(1.632,1.538),(3.069,1.636),(4.881,1.845),(6.396,2.095),(7.806,2.39),(9.387,2.795),(10.947,3.274),(12.484,3.826),(13.904,4.411),(15.297,5.058),(16.912,5.906),(18.318,6.736),(19.683,7.631),(21.004,8.589),(22.279,9.609),(23.504,10.687),(24.744,11.89),(26.114,13.37),(27.158,14.625),(28.253,16.083),(29.167,17.436),(30.159,19.08),(30.973,20.604),(31.71,22.167),(32.368,23.765),(32.975,25.486),(33.491,27.235),(33.934,29.104),(34.258,30.899),(34.497,32.804),(34.621,34.528),(34.659,36.159),(37.659,36.159),(37.613,34.282),(37.462,32.306),(37.191,30.237),(36.828,28.289),(36.363,26.362),(35.797,24.462),(35.132,22.595),(34.454,20.956),(33.607,19.165),(32.666,17.42),(31.635,15.727),(30.516,14.091),(29.313,12.516),(28.098,11.085),(26.74,9.641),(25.385,8.341),(23.724,6.912),(21.983,5.582),(20.08,4.3),(18.194,3.186),(16.152,2.139),(14.243,1.297),(12.093,0.494),(9.898,-0.176),(7.36,-0.774),(4.993,-1.168),(2.398,-1.424),(0,-1.5)])
P(wg_bend029, L22_0, [(0,0.5),(1.777,0.544),(3.452,0.667),(5.119,0.869),(6.872,1.168),(8.608,1.554),(10.133,1.97),(11.824,2.517),(13.395,3.111),(15.026,3.82),(16.619,4.609),(18.256,5.527),(19.513,6.312),(21.056,7.38),(22.31,8.341),(23.521,9.357),(24.899,10.632),(26.207,11.977),(27.253,13.162),(28.185,14.314),(29.239,15.746),(30.115,17.062),(30.931,18.415),(31.687,19.803),(32.381,21.223),(33.122,22.948),(33.771,24.709),(34.327,26.501),(34.809,28.417),(35.168,30.259),(35.441,32.216),(35.605,34.185),(35.659,36.159),(36.659,36.159),(36.609,34.231),(36.467,32.408),(36.235,30.595),(35.892,28.696),(35.501,27.015),(35.001,25.257),(34.449,23.621),(33.781,21.92),(33.029,20.253),(32.195,18.627),(31.387,17.217),(30.289,15.508),(29.284,14.105),(28.083,12.595),(26.942,11.299),(25.67,9.987),(24.333,8.74),(22.857,7.498),(21.152,6.217),(19.633,5.2),(17.977,4.21),(16.453,3.399),(14.613,2.538),(12.824,1.816),(10.611,1.069),(8.454,0.488),(6.066,0.005),(3.751,-0.308),(2.03,-0.444),(0,-0.5)])

toplevel = lib.new_cell('toplevel')
toplevel.add(gdstk.Reference(unnamed, (10,20)))
toplevel.add(gdstk.Reference(wg_bend, (10,30)))
toplevel.add(gdstk.Reference(unnamed002, (20,20)))
toplevel.add(gdstk.Reference(wg_bend003, (20,30)))
toplevel.add(gdstk.Reference(unnamed004, (30,20)))
toplevel.add(gdstk.Reference(wg_bend005, (30,30)))
toplevel.add(gdstk.Reference(unnamed006, (50,20)))
toplevel.add(gdstk.Reference(wg_bend007, (50,30)))
toplevel.add(gdstk.Reference(unnamed008, (100,20)))
toplevel.add(gdstk.Reference(wg_bend009, (100,30)))
toplevel.add(gdstk.Reference(unnamed010, (10,45)))
toplevel.add(gdstk.Reference(wg_bend011, (10,55)))
toplevel.add(gdstk.Reference(unnamed012, (20,45)))
toplevel.add(gdstk.Reference(wg_bend013, (20,55)))
toplevel.add(gdstk.Reference(unnamed014, (30,45)))
toplevel.add(gdstk.Reference(wg_bend015, (30,55)))
toplevel.add(gdstk.Reference(unnamed016, (50,45)))
toplevel.add(gdstk.Reference(wg_bend017, (50,55)))
toplevel.add(gdstk.Reference(unnamed018, (100,45)))
toplevel.add(gdstk.Reference(wg_bend019, (100,55)))
toplevel.add(gdstk.Reference(unnamed020, (10,90)))
toplevel.add(gdstk.Reference(wg_bend021, (10,100)))
toplevel.add(gdstk.Reference(unnamed022, (20,90)))
toplevel.add(gdstk.Reference(wg_bend023, (20,100)))
toplevel.add(gdstk.Reference(unnamed024, (30,90)))
toplevel.add(gdstk.Reference(wg_bend025, (30,100)))
toplevel.add(gdstk.Reference(unnamed026, (50,90)))
toplevel.add(gdstk.Reference(wg_bend027, (50,100)))
toplevel.add(gdstk.Reference(unnamed028, (100,90)))
toplevel.add(gdstk.Reference(wg_bend029, (100,100)))

lib.write_gds('toplevel.gds')
